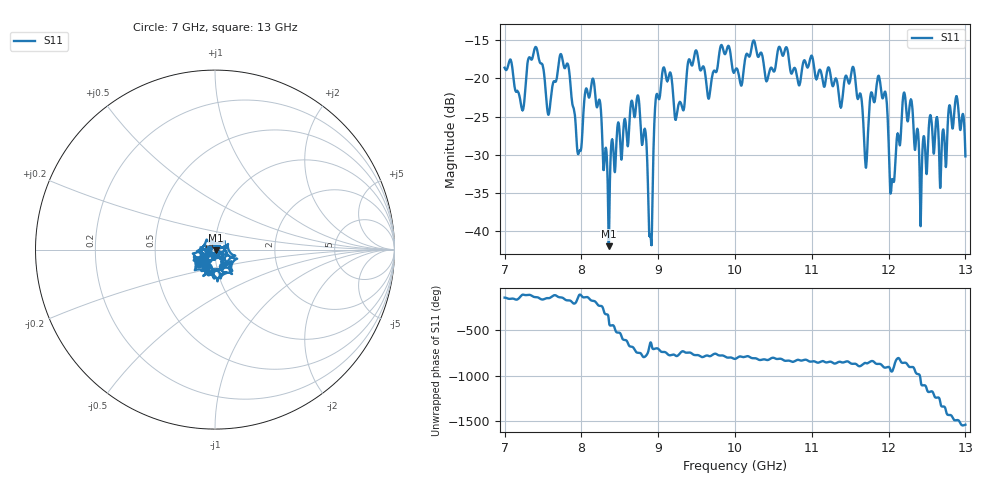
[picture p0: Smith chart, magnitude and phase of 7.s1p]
[Version] 2.0
! Rohde & Schwarz Vector Network Analyzer
! Rohde-Schwarz,ZNL20-2Port,1323001220200009,1.71.1.10-23.02.1.238
! Trace info:
! Nominal Param -> Actual Exported Buffer
! S11 -> S22
! Created: GMT+3 2024-09-24 16:37:56
# Hz S DB R 50
[Number of Ports] 1
! freq[Hz]  S11[mag dB]  S11[ang]
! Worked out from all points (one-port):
!   6001 points, 7 GHz to 13 GHz, reference 50 ohm
!   lowest |S11| = -42.0 dB at 8.357 GHz (marker M1), VSWR 1.02, Z = 50.7 - j0.408 ohm
!   |S11| at or under -10 dB: start of sweep to end of sweep
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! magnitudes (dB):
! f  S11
! 7 GHz  -18.6
! 7.232 GHz  -24.2
! 7.41 GHz  -15.9
! 7.572 GHz  -24.8
! 7.75 GHz  -17.3
! 7.97 GHz  -29.6
! 8.156 GHz  -20.1
! 8.357 GHz  -42.0
! 8.5 GHz  -27.4
! 8.738 GHz  -22.3
! 8.836 GHz  -27.1
! 8.898 GHz  -40.5
! 8.982 GHz  -22.0
! 9.25 GHz  -24.2
! 9.488 GHz  -16.3
! 9.656 GHz  -22.7
! 9.822 GHz  -15.6
! 10 GHz  -19.0
! 10.75 GHz  -19.1
! 11.5 GHz  -20.2
! 11.7 GHz  -31.7
! 11.88 GHz  -19.8
! 11.97 GHz  -22.2
! 12.04 GHz  -33.5
! 12.25 GHz  -25.6
! 12.42 GHz  -38.8
! 12.88 GHz  -22.4
! 13 GHz  -30.2
